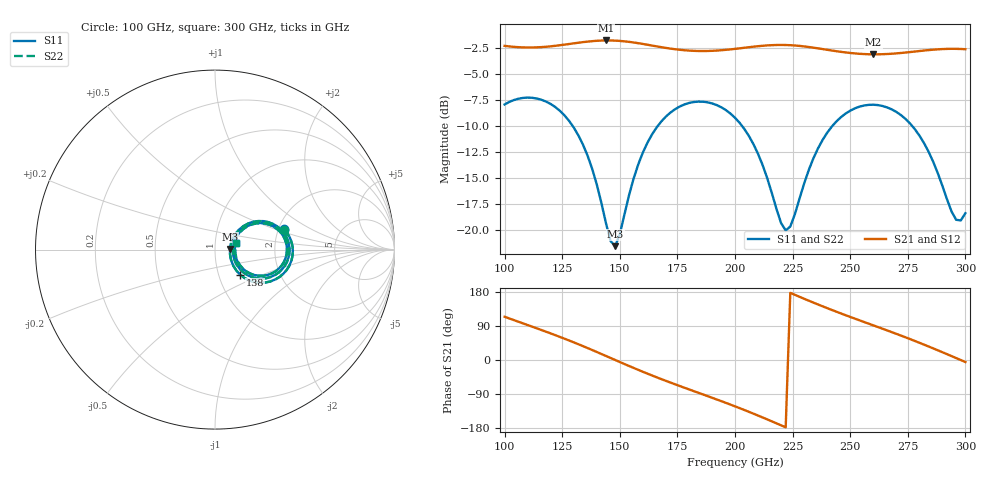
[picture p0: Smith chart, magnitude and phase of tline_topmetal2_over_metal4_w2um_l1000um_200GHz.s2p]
#  GHZ S DB R 50
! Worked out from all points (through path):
!   101 points, 100 GHz to 300 GHz, reference 50 ohm
!   highest |S21| = -1.75 dB at 144 GHz (marker M1); lowest = -3.1 dB at 260 GHz (marker M2)
!   group delay of S21, straight-line fit = 6.67 ps
!   lowest |S11| = -21.6 dB at 148 GHz (marker M3), VSWR 1.18, Z = 59.1 + j0.42 ohm
!   |S11| at or under -10 dB: 129.6 GHz to 166.4 GHz (36.86 GHz wide, 24.9 % of centre); 203.1 GHz to 242.2 GHz (39.11 GHz wide, 17.6 % of centre); 276.9 GHz to end of sweep
!   |S22| runs from -21.5 to -7.2 dB; largest |S21 - S12| = 9e-14
!   S11 on the Smith chart (normalised r, x): 100 GHz: 2.15, +0.58; 138 GHz: 1.27, -0.37; 300 GHz: 1.26, +0.09
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100  -7.92 16.4  -2.27 114.2  -2.27 114.2  -7.91 16.2
110  -7.25 -1.5  -2.43 92.2  -2.43 92.2  -7.25 -1.7
118  -7.64 -15.8  -2.35 74.6  -2.35 74.6  -7.63 -15.9
126  -8.97 -29.8  -2.15 56.2  -2.15 56.2  -8.97 -29.9
134  -11.78 -41.9  -1.91 36.6  -1.91 36.6  -11.78 -41.9
138  -14.11 -44.9  -1.82 26.4  -1.82 26.4  -14.11 -44.9
144  -19.36 -33.5  -1.75 10.6  -1.75 10.6  -19.34 -33.5
148  -21.57 2.4  -1.77 0.0  -1.77 0.0  -21.52 2.3
158  -13.69 39.6  -2.01 -26.0  -2.01 -26.0  -13.68 39.4
168  -9.56 27.5  -2.39 -50.4  -2.39 -50.4  -9.55 27.3
184  -7.64 0.7  -2.76 -86.3  -2.76 -86.3  -7.63 0.5
200  -9.20 -25.9  -2.56 -122.3  -2.56 -122.3  -9.19 -26.0
212  -13.76 -38.8  -2.26 -151.7  -2.26 -151.7  -13.74 -38.9
222  -20.05 -3.8  -2.19 -177.6  -2.19 -177.6  -19.98 -4.0
234  -13.12 36.0  -2.44 151.6  -2.44 151.6  -13.11 35.6
246  -9.14 21.8  -2.85 122.8  -2.85 122.8  -9.13 21.5
260  -7.94 -0.7  -3.08 91.5  -3.08 91.5  -7.93 -0.9
268  -8.38 -13.6  -3.03 73.7  -3.03 73.7  -8.37 -13.7
278  -10.28 -28.3  -2.82 50.4  -2.82 50.4  -10.26 -28.3
286  -13.42 -34.9  -2.64 30.7  -2.64 30.7  -13.37 -34.7
296  -19.03 -8.0  -2.56 5.1  -2.56 5.1  -18.81 -8.1
300  -18.39 17.1  -2.59 -5.3  -2.59 -5.3  -18.20 16.2
